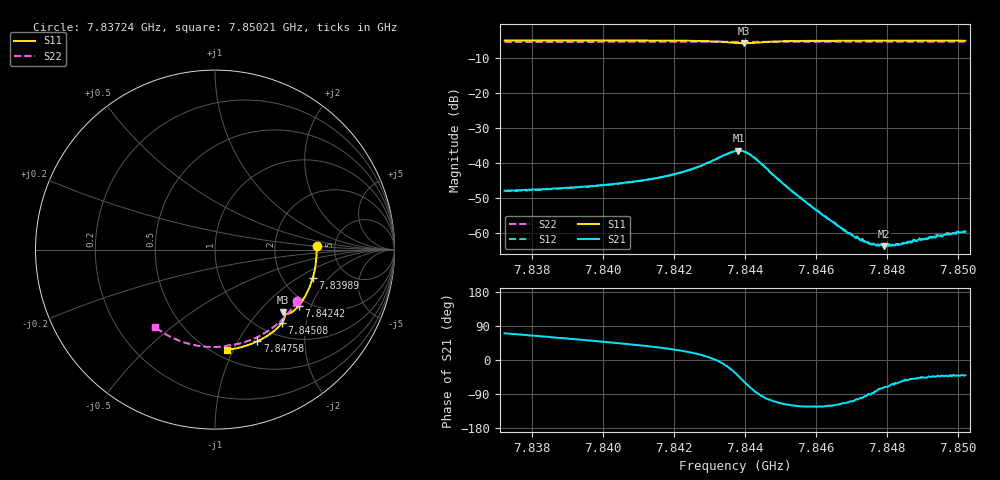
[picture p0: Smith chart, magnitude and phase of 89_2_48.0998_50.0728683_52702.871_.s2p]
#  HZ  S  RI  R  50.00
! Rohde & Schwarz Vector Network Analyzer
! Rohde-Schwarz,ZNB20-2Port,1311601062101988,3.16
! Created: UTC 12/23/2023, 3:43:34 AM
! freq[Hz]  re:S11  im:S11  re:S21  im:S21  re:S12  im:S12  re:S22  im:S22
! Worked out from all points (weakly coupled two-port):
!   401 points, 7.83724 GHz to 7.85021 GHz, reference 50 ohm
!   highest |S21| = -36.51 dB at 7.84382 GHz (marker M1); lowest = -63.9 dB at 7.8479 GHz (marker M2)
!   lowest |S11| = -5.8 dB at 7.84398 GHz (marker M3), VSWR 3.13, Z = 72.7 - j68.9 ohm
!   |S11| at or under -10 dB: nowhere
!   |S22| runs from -5.4 to -5.3 dB; largest |S21 - S12| = 0.00038
!   S11 on the Smith chart (normalised r, x): 7.83724 GHz: 3.60, +0.21; 7.83989 GHz: 2.94, -1.35; 7.84242 GHz: 1.79, -1.64; 7.84508 GHz: 1.25, -1.46; 7.84758 GHz: 0.81, -1.21; 7.85021 GHz: 0.58, -0.95
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7.837236e9  0.5659 0.0198  0.00134 0.00375  0.00135 0.00366  0.4587 -0.2844
7.839408e9  0.5532 -0.1241  0.00273 0.00364  0.00268 0.00358  0.362 -0.4014
7.839895e9  0.5452 -0.1557  0.00311 0.00361  0.00306 0.00357  0.336 -0.4235
7.841581e9  0.5009 -0.2624  0.00518 0.00338  0.00512 0.00338  0.2362 -0.487
7.842424e9  0.4671 -0.3131  0.00738 0.00279  0.00735 0.00281  0.1816 -0.51
7.843235e9  0.4184 -0.3537  0.0116 -0.000428  0.0115 -0.000382  0.1267 -0.5255
7.843721e9  0.384 -0.3556  0.0122 -0.0082  0.0123 -0.00808  0.0941 -0.531
7.843819e9  0.3807 -0.3523  0.0111 -0.0101  0.0111 -0.0101  0.0878 -0.5317
7.843981e9  0.3804 -0.348  0.00764 -0.0123  0.00779 -0.0122  0.0778 -0.5334
7.844143e9  0.3846 -0.3486  0.00403 -0.0125  0.00401 -0.0126  0.0674 -0.5355
7.844337e9  0.3893 -0.3568  0.000683 -0.0111  0.000617 -0.0112  0.0546 -0.5378
7.845083e9  0.3738 -0.4069  -0.00217 -0.00449  -0.00214 -0.00451  0.00233 -0.5426
7.845894e9  0.3335 -0.4494  -0.00125 -0.00193  -0.00127 -0.00197  -0.0548 -0.5411
7.846834e9  0.2805 -0.4873  -0.000421 -0.000955  -0.000448 -0.000984  -0.1201 -0.5309
7.847061e9  0.267 -0.4951  -0.000284 -0.000829  -0.000271 -0.000841  -0.1356 -0.5271
7.847418e9  0.2457 -0.5064  -6.61e-05 -0.000729  -6.91e-05 -0.000727  -0.1598 -0.5205
7.84758e9  0.2358 -0.5111  3.23e-05 -0.000673  2.53e-05 -0.000694  -0.1708 -0.5172
7.847904e9  0.2159 -0.52  0.00019 -0.00061  0.000201 -0.000622  -0.1921 -0.5099
7.848067e9  0.2057 -0.524  0.000251 -0.000596  0.000235 -0.00063  -0.203 -0.5058
7.848521e9  0.1771 -0.5343  0.000447 -0.000561  0.00043 -0.000566  -0.2323 -0.4935
7.849396e9  0.1207 -0.5497  0.000635 -0.000601  0.000671 -0.000657  -0.2864 -0.4644
7.850207e9  0.0676 -0.5583  0.000783 -0.000663  0.0008 -0.000715  -0.3333 -0.4325
